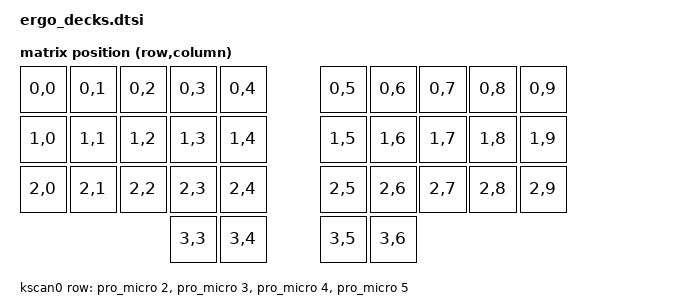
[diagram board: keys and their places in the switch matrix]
#include <dt-bindings/zmk/matrix_transform.h> 
#include <physical_layouts.dtsi>

/ {
    &physical_layout0 {
    kscan = <&kscan0>; // Label of the kscan node this layout uses
    transform = <&default_transform>; // Label of the matrix transform this layout uses
    };
    kscan0: kscan0 {
        compatible = "zmk,kscan-gpio-matrix";
        diode-direction = "col2row";
        wakeup-source;

        row-gpios
            = <&pro_micro 2 (GPIO_ACTIVE_HIGH | GPIO_PULL_DOWN)>
            , <&pro_micro 3 (GPIO_ACTIVE_HIGH | GPIO_PULL_DOWN)>
            , <&pro_micro 4 (GPIO_ACTIVE_HIGH | GPIO_PULL_DOWN)>
            , <&pro_micro 5 (GPIO_ACTIVE_HIGH | GPIO_PULL_DOWN)>
            ;

    };
      default_transform: keymap_transform0 {
        compatible = "zmk,matrix-transform";
        columns = <10>;
        rows = <4>;
        map = <
        //  LKey 1 |LKey 2 |LKey 3|LKey 4 |LKey 5      RKey 1 |RKey 2 |RKey 3|RKey 4 |RKey 5
            RC(0,0) RC(0,1) RC(0,2) RC(0,3) RC(0,4)    RC(0,5) RC(0,6) RC(0,7) RC(0,8) RC(0,9)
        //  LKey 6 |LKey 7 |LKey 8 |LKey 9 |LKey 10     RKey 6 |RKey 7 |RKey 8 |RKey 9 |RKey 10
            RC(1,0) RC(1,1) RC(1,2) RC(1,3) RC(1,4)     RC(1,5) RC(1,6) RC(1,7) RC(1,8) RC(1,9)
        //  LKey 11 |LKey 12 |LKey 13 |LKey 14 |LKey 15      RKey 11 |RKey 12 |RKey 13 |RKey 14 |RKey 15
            RC(2,0) RC(2,1) RC(2,2) RC(2,3) RC(2,4)     RC(2,5) RC(2,6) RC(2,7) RC(2,8) RC(2,9)
        //                            |LKey 16 |LKey 17 |LKey 16 |LKey 17 
                                    RC(3,3) RC(3,4)     RC(3,5) RC(3,6)

        >;
    };
};
